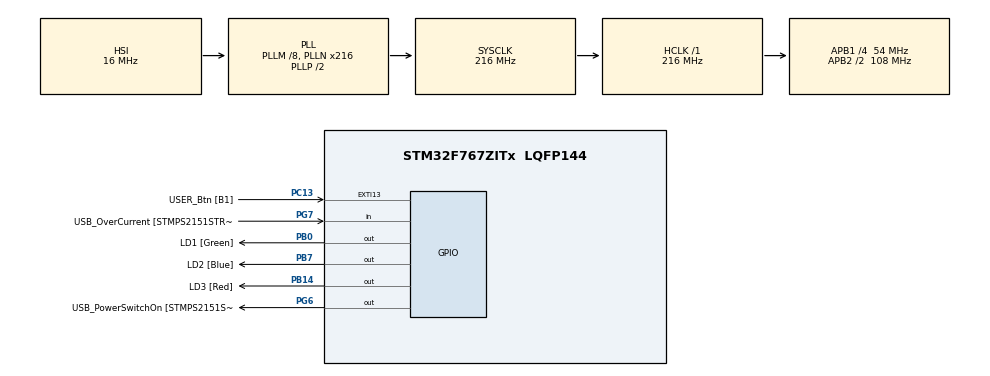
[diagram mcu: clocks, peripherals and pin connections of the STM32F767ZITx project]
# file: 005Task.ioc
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Mcu.Family=STM32F7
Mcu.Name=STM32F767ZITx
Mcu.Package=LQFP144
NVIC.PriorityGroup=NVIC_PRIORITYGROUP_4
NVIC.TIM6_DAC_IRQn=true\:15\:0\:false\:false\:true\:false\:true\:true
NVIC.TimeBase=TIM6_DAC_IRQn
NVIC.TimeBaseIP=TIM6
PA1.GPIO_Label=RMII_REF_CLK [LAN8742A-CZ-TR_REFCLK0]
PA1.Signal=ETH_REF_CLK
PA10.GPIO_Label=USB_ID
PA10.Signal=USB_OTG_FS_ID
PA11.GPIO_Label=USB_DM
PA11.Signal=USB_OTG_FS_DM
PA12.GPIO_Label=USB_DP
PA12.Signal=USB_OTG_FS_DP
PA13.GPIO_Label=TMS
PA13.Signal=SYS_JTMS-SWDIO
PA14.GPIO_Label=TCK
PA14.Signal=SYS_JTCK-SWCLK
PA2.GPIO_Label=RMII_MDIO [LAN8742A-CZ-TR_MDIO]
PA2.Signal=ETH_MDIO
PA7.GPIO_Label=RMII_CRS_DV [LAN8742A-CZ-TR_CRS_DV]
PA7.Signal=ETH_CRS_DV
PA8.GPIO_Label=USB_SOF [TP1]
PA8.Signal=USB_OTG_FS_SOF
PA9.GPIO_Label=USB_VBUS
PA9.Signal=USB_OTG_FS_VBUS
PB0.GPIO_Label=LD1 [Green]
PB0.Signal=GPIO_Output
PB13.GPIO_Label=RMII_TXD1 [LAN8742A-CZ-TR_TXD1]
PB13.Signal=ETH_TXD1
PB14.GPIO_Label=LD3 [Red]
PB14.Signal=GPIO_Output
PB3.GPIO_Label=SW0
PB3.Signal=SYS_JTDO-SWO
PB7.GPIO_Label=LD2 [Blue]
PB7.Signal=GPIO_Output
PC1.GPIO_Label=RMII_MDC [LAN8742A-CZ-TR_MDC]
PC1.Signal=ETH_MDC
PC13.GPIO_Label=USER_Btn [B1]
PC13.Signal=GPXTI13
PC14/OSC32_IN.Signal=RCC_OSC32_IN
PC15/OSC32_OUT.Signal=RCC_OSC32_OUT
PC4.GPIO_Label=RMII_RXD0 [LAN8742A-CZ-TR_RXD0]
PC4.Signal=ETH_RXD0
PC5.GPIO_Label=RMII_RXD1 [LAN8742A-CZ-TR_RXD1]
PC5.Signal=ETH_RXD1
PD8.GPIO_Label=STLK_RX [STM32F103CBT6_PA3]
PD8.Signal=USART3_TX
PD9.GPIO_Label=STLK_TX [STM32F103CBT6_PA2]
PD9.Signal=USART3_RX
PG11.GPIO_Label=RMII_TX_EN [LAN8742A-CZ-TR_TXEN]
PG11.Signal=ETH_TX_EN
PG13.GPIO_Label=RMII_TXD0 [LAN8742A-CZ-TR_TXD0]
PG13.Signal=ETH_TXD0
PG6.GPIO_Label=USB_PowerSwitchOn [STMPS2151STR_EN]
PG6.Signal=GPIO_Output
PG7.GPIO_Label=USB_OverCurrent [STMPS2151STR_FAULT]
PG7.Signal=GPIO_Input
PH0/OSC_IN.GPIO_Label=MCO [STM32F103CBT6_PA8]
PH0/OSC_IN.Signal=RCC_OSC_IN
PH1/OSC_OUT.Signal=RCC_OSC_OUT
ProjectManager.HeapSize=0x200
ProjectManager.StackSize=0x400
ProjectManager.TargetToolchain=STM32CubeIDE
RCC.48MHZClocksFreq_Value=24000000
RCC.AHBFreq_Value=216000000
RCC.APB1CLKDivider=RCC_HCLK_DIV4
RCC.APB1Freq_Value=54000000
RCC.APB1TimFreq_Value=108000000
RCC.APB2CLKDivider=RCC_HCLK_DIV2
RCC.APB2Freq_Value=108000000
RCC.APB2TimFreq_Value=216000000
RCC.CortexFreq_Value=216000000
RCC.HCLKFreq_Value=216000000
RCC.HSE_VALUE=16000000
RCC.HSI_VALUE=16000000
RCC.LSE_VALUE=32768
RCC.PLLM=8
RCC.PLLMUL=RCC_PLL_MUL9
RCC.PLLN=216
RCC.PRESCALERUSB=RCC_USBCLKSOURCE_PLL_DIV1_5
RCC.SYSCLKFreq_VALUE=216000000
RCC.SYSCLKSource=RCC_SYSCLKSOURCE_PLLCLK
RCC.SYSCLKSourceVirtual=RCC_SYSCLKSOURCE_PLLCLK
RCC.USBFreq_Value=216000000
RCC.VCOOutputFreq_Value=432000000
VP_SYS_VS_tim6.Mode=TIM6
board=NUCLEO-F767ZI

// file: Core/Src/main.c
/* USER CODE BEGIN Header */
/**
  ******************************************************************************
  * @file           : main.c
  * @brief          : Main program body
  ******************************************************************************
  * @attention
  *
  * Copyright (c) 2024 STMicroelectronics.
  * All rights reserved.
  *
  * This software is licensed under terms that can be found in the LICENSE file
  * in the root directory of this software component.
  * If no LICENSE file comes with this software, it is provided AS-IS.
  *
  ******************************************************************************
  */
/* USER CODE END Header */
#include "main.h"
#include "gpio.h"

/* USER CODE BEGIN Includes */
#include "FreeRTOS.h"
#include "task.h"
/* USER CODE END Includes */

/* USER CODE BEGIN PV */
#define DWT_CTRL (*(volatile uint32_t*)0xE0001000)
/* USER CODE END PV */

void SystemClock_Config(void);
/* USER CODE BEGIN PFP */
static void vLED_Green_handler( void * pvParameters );
static void vLED_Blue_handler( void * pvParameters );
static void vLED_Red_handler( void * pvParameters );
static void vButton_handler( void * pvParameters );

extern void SEGGER_UART_init(uint32_t);

TaskHandle_t pvled_green_handle;
TaskHandle_t pvled_blue_handle;
TaskHandle_t pvled_red_handle;
TaskHandle_t pvbutton_handle;

TaskHandle_t volatile next_task_handle;

/* USER CODE END PFP */

int main(void)
{
  /* USER CODE BEGIN 1 */

	BaseType_t status;

  /* USER CODE END 1 */

  /* MCU Configuration--------------------------------------------------------*/

  /* Reset of all peripherals, Initializes the Flash interface and the Systick. */
  HAL_Init();

  /* Configure the system clock */
  SystemClock_Config();

  /* Initialize all configured peripherals */
  MX_GPIO_Init();
  /* USER CODE BEGIN 2 */

  //Enable the CYCCNT counter
  DWT_CTRL |= (1 << 0);

  SEGGER_UART_init(500000);

  SEGGER_SYSVIEW_Conf();

  status = xTaskCreate(vLED_Green_handler, "LED_green_task", 200, NULL, 3, &pvled_green_handle);
  configASSERT(status == pdPASS);

  next_task_handle = pvled_green_handle;

  status = xTaskCreate(vLED_Blue_handler, "LED_blue_task", 200, NULL, 2, &pvled_blue_handle);
  configASSERT(status == pdPASS);

  status = xTaskCreate(vLED_Red_handler, "LED_red_task", 200, NULL, 1, &pvled_red_handle);
  configASSERT(status == pdPASS);

  status = xTaskCreate(vButton_handler, "Button_task", 200, NULL, 4, &pvbutton_handle);
  configASSERT(status == pdPASS);

  //Start the FreeRTOS scheduler
  vTaskStartScheduler();

  /* USER CODE END 2 */

  /* Infinite loop */
  while (1)
  {

  }
}

void SystemClock_Config(void)
{
  RCC_OscInitTypeDef RCC_OscInitStruct = {0};
  RCC_ClkInitTypeDef RCC_ClkInitStruct = {0};

  /** Configure the main internal regulator output voltage
  */
  __HAL_RCC_PWR_CLK_ENABLE();
  __HAL_PWR_VOLTAGESCALING_CONFIG(PWR_REGULATOR_VOLTAGE_SCALE1);

  /** Initializes the RCC Oscillators according to the specified parameters
  * in the RCC_OscInitTypeDef structure.
  */
  RCC_OscInitStruct.OscillatorType = RCC_OSCILLATORTYPE_HSI;
  RCC_OscInitStruct.HSIState = RCC_HSI_ON;
  RCC_OscInitStruct.HSICalibrationValue = RCC_HSICALIBRATION_DEFAULT;
  RCC_OscInitStruct.PLL.PLLState = RCC_PLL_ON;
  RCC_OscInitStruct.PLL.PLLSource = RCC_PLLSOURCE_HSI;
  RCC_OscInitStruct.PLL.PLLM = 8;
  RCC_OscInitStruct.PLL.PLLN = 216;
  RCC_OscInitStruct.PLL.PLLP = RCC_PLLP_DIV2;
  RCC_OscInitStruct.PLL.PLLQ = 2;
  RCC_OscInitStruct.PLL.PLLR = 2;
  if (HAL_RCC_OscConfig(&RCC_OscInitStruct) != HAL_OK)
  {
    Error_Handler();
  }

  /** Activate the Over-Drive mode
  */
  if (HAL_PWREx_EnableOverDrive() != HAL_OK)
  {
    Error_Handler();
  }

  /** Initializes the CPU, AHB and APB buses clocks
  */
  RCC_ClkInitStruct.ClockType = RCC_CLOCKTYPE_HCLK|RCC_CLOCKTYPE_SYSCLK
                              |RCC_CLOCKTYPE_PCLK1|RCC_CLOCKTYPE_PCLK2;
  RCC_ClkInitStruct.SYSCLKSource = RCC_SYSCLKSOURCE_PLLCLK;
  RCC_ClkInitStruct.AHBCLKDivider = RCC_SYSCLK_DIV1;
  RCC_ClkInitStruct.APB1CLKDivider = RCC_HCLK_DIV4;
  RCC_ClkInitStruct.APB2CLKDivider = RCC_HCLK_DIV2;

  if (HAL_RCC_ClockConfig(&RCC_ClkInitStruct, FLASH_LATENCY_7) != HAL_OK)
  {
    Error_Handler();
  }
}

/* USER CODE BEGIN 4 */
static void vLED_Green_handler( void * pvParameters )
{
	BaseType_t status;

	while(1)
	{
		SEGGER_SYSVIEW_PrintfTarget("Toggling green LED");
		HAL_GPIO_TogglePin(GPIOB, GREEN_LED_PIN);
		status = xTaskNotifyWait(0,0,NULL,pdMS_TO_TICKS(1000));

		if(status == pdPASS)
		{
			vTaskSuspendAll();
			next_task_handle = pvled_blue_handle;
			xTaskResumeAll();
			HAL_GPIO_WritePin(GPIOB, GREEN_LED_PIN, GPIO_PIN_SET);
			SEGGER_SYSVIEW_PrintfTarget("Delete green task");
			vTaskDelete(NULL);
		}
	}
}
static void vLED_Blue_handler( void * pvParameters )
{
	BaseType_t status;

	while(1)
	{
		SEGGER_SYSVIEW_PrintfTarget("Toggling blue LED");
		HAL_GPIO_TogglePin(GPIOB, BLUE_LED_PIN);
		status = xTaskNotifyWait(0,0,NULL,pdMS_TO_TICKS(800));

		if(status == pdPASS)
		{
			vTaskSuspendAll();
			next_task_handle = pvled_red_handle;
			xTaskResumeAll();
			HAL_GPIO_WritePin(GPIOB, BLUE_LED_PIN, GPIO_PIN_SET);
			SEGGER_SYSVIEW_PrintfTarget("Delete blue task");
			vTaskDelete(NULL);
		}
	}
}
static void vLED_Red_handler( void * pvParameters )
{
	BaseType_t status;

	while(1)
	{
		SEGGER_SYSVIEW_PrintfTarget("Toggling red LED");
		HAL_GPIO_TogglePin(GPIOB, RED_LED_PIN);
		status = xTaskNotifyWait(0,0,NULL,pdMS_TO_TICKS(400));

		if(status == pdPASS)
		{
			vTaskSuspendAll();
			next_task_handle = NULL;
			xTaskResumeAll();
			HAL_GPIO_WritePin(GPIOB, RED_LED_PIN, GPIO_PIN_SET);
			vTaskDelete(pvbutton_handle);
			SEGGER_SYSVIEW_PrintfTarget("Delete red task");
			vTaskDelete(NULL);
		}
	}
}

static void vButton_handler( void * pvParameters )
{
	uint8_t btn_read = 0;
	uint8_t prev_read = 0;

	while(1)
	{
		btn_read = HAL_GPIO_ReadPin(GPIOC, GPIO_PIN_13);

		if(btn_read)
		{
			if(!prev_read)
				xTaskNotify(next_task_handle,0,eNoAction);
		}
		prev_read = btn_read;
		vTaskDelay(pdMS_TO_TICKS(10));
	}
}

/* USER CODE END 4 */

void HAL_TIM_PeriodElapsedCallback(TIM_HandleTypeDef *htim)
{
  if (htim->Instance == TIM6) {
    HAL_IncTick();
  }
}

void Error_Handler(void)
{
  __disable_irq();
  while (1)
  {
  }
}
